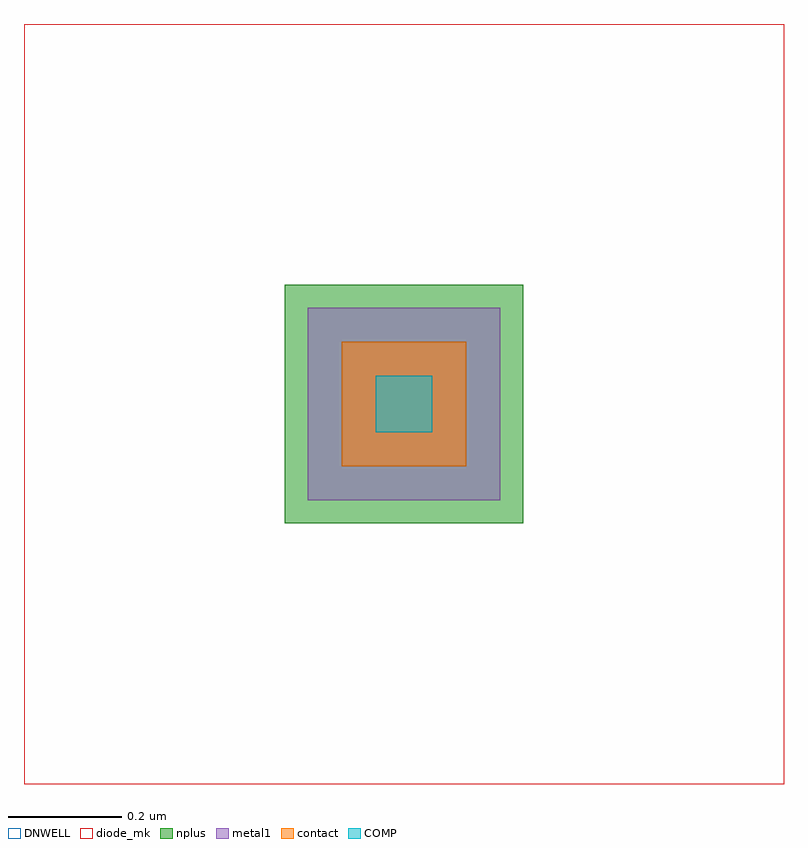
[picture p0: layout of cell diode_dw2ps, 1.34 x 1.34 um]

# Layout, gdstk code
import gdstk
lib = gdstk.Library(unit=1e-6, precision=1e-09)
def R(c, l, rs):  # rectangles x0, y0, x1, y1
    for r in rs: c.add(gdstk.rectangle(r[:2], r[2:], *l))
DNWELL = (12, 0)
COMP = (22, 0)
nplus = (32, 0)
contact = (33, 0)
metal1 = (34, 0)
diode_mk = (115, 5)

compass_5c90cb24 = lib.new_cell('compass_5c90cb24')
R(compass_5c90cb24, COMP, [(-0.05,-0.05,0.05,0.05)])

rectangle_5c90cb24 = lib.new_cell('rectangle_5c90cb24')
rectangle_5c90cb24.add(gdstk.Reference(compass_5c90cb24, (0.05,0.05)))

compass_f38dc993 = lib.new_cell('compass_f38dc993')
R(compass_f38dc993, contact, [(-0.11,-0.11,0.11,0.11)])

rectangle_f38dc993 = lib.new_cell('rectangle_f38dc993')
rectangle_f38dc993.add(gdstk.Reference(compass_f38dc993, (0.11,0.11)))

via_generator_fb634f5e = lib.new_cell('via_generator_fb634f5e')
r = gdstk.Reference(rectangle_f38dc993, (-0.06,-0.06)); r.repetition = gdstk.Repetition(1, 1, v1=(0.5,0), v2=(0,0.5)); via_generator_fb634f5e.add(r)

compass_02b66c81 = lib.new_cell('compass_02b66c81')
R(compass_02b66c81, metal1, [(-0.17,-0.17,0.17,0.17)])

rectangle_02b66c81 = lib.new_cell('rectangle_02b66c81')
rectangle_02b66c81.add(gdstk.Reference(compass_02b66c81, (0.17,0.17)))

via_stack_e72d222e = lib.new_cell('via_stack_e72d222e')
via_stack_e72d222e.add(gdstk.Reference(via_generator_fb634f5e, (0,0)))
via_stack_e72d222e.add(gdstk.Reference(rectangle_02b66c81, (-0.12,-0.12)))

compass_ba8ddf18 = lib.new_cell('compass_ba8ddf18')
R(compass_ba8ddf18, nplus, [(-0.21,-0.21,0.21,0.21)])

rectangle_ba8ddf18 = lib.new_cell('rectangle_ba8ddf18')
rectangle_ba8ddf18.add(gdstk.Reference(compass_ba8ddf18, (0.21,0.21)))

compass_a6b04c27 = lib.new_cell('compass_a6b04c27')
R(compass_a6b04c27, DNWELL, [(-0.67,-0.67,0.67,0.67)])

rectangle_a6b04c27 = lib.new_cell('rectangle_a6b04c27')
rectangle_a6b04c27.add(gdstk.Reference(compass_a6b04c27, (0.67,0.67)))

compass_affa32e9 = lib.new_cell('compass_affa32e9')
R(compass_affa32e9, diode_mk, [(-0.67,-0.67,0.67,0.67)])

rectangle_affa32e9 = lib.new_cell('rectangle_affa32e9')
rectangle_affa32e9.add(gdstk.Reference(compass_affa32e9, (0.67,0.67)))

diode_dw2ps = lib.new_cell('diode_dw2ps')
diode_dw2ps.add(gdstk.Reference(rectangle_5c90cb24, (0,0)))
diode_dw2ps.add(gdstk.Reference(via_stack_e72d222e, (0,0)))
diode_dw2ps.add(gdstk.Reference(rectangle_ba8ddf18, (-0.16,-0.16)))
diode_dw2ps.add(gdstk.Reference(rectangle_a6b04c27, (-0.62,-0.62)))
diode_dw2ps.add(gdstk.Reference(rectangle_affa32e9, (-0.62,-0.62)))

lib.write_gds('diode_dw2ps.gds')
